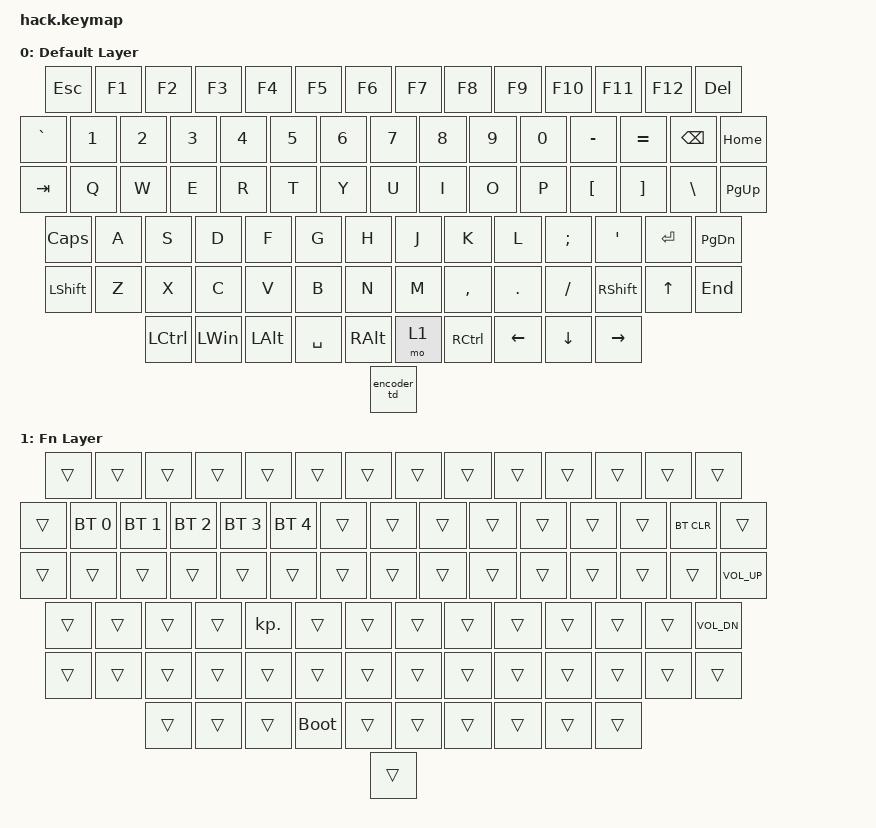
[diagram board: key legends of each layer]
#include <behaviors.dtsi>
#include <dt-bindings/zmk/keys.h>
#include <dt-bindings/zmk/bt.h>

/ {
    behaviors {
        encoder_td: encoder_td {
            compatible = "zmk,behavior-tap-dance";
            #binding-cells = <0>;
            tapping-term-ms = <500>;
            bindings = <
                &kp C_PLAY_PAUSE    /* Single tap  */
                &kp C_NEXT          /* Double tap  */
                &kp C_PREVIOUS      /* Triple tap  */
            >;
        };
    };

    keymap0: keymap {
        compatible = "zmk,keymap";

            default_layer {
            display-name = "Default Layer";
            bindings = <
                &kp ESC &kp F1 &kp F2 &kp F3 &kp F4 &kp F5 &kp F6 &kp F7 &kp F8 &kp F9 &kp F10 &kp F11 &kp F12 &kp DEL
                &kp GRAVE &kp N1 &kp N2 &kp N3 &kp N4 &kp N5 &kp N6 &kp N7 &kp   N8  &kp  N9 &kp  N0  &kp MINUS &kp EQUAL &kp BSPC &kp HOME
                &kp TAB  &kp Q  &kp W  &kp E  &kp R  &kp T  &kp Y  &kp U  &kp   I   &kp  O  &kp   P  &kp LBKT &kp RBKT  &kp BSLH &kp PG_UP
                &kp CLCK  &kp A  &kp S  &kp D  &kp F  &kp G  &kp H  &kp J  &kp   K   &kp  L  &kp SEMI &kp APOS           &kp RET &kp PG_DN
                &kp LSHFT  &kp Z  &kp X  &kp C  &kp V  &kp B  &kp N  &kp M  &kp COMMA &kp DOT &kp FSLH         &kp RSHFT &kp UP &kp END
                &kp LCTRL &kp LWIN &kp LALT               &kp SPACE                 &kp  RALT  &mo  1  &kp  RCTRL  &kp LEFT  &kp DOWN  &kp RIGHT
                &encoder_td
            >;
        };

        fn_layer {
            display-name = "Fn Layer";
            bindings = <
                &trans   &trans   &trans   &trans   &trans   &trans   &trans   &trans   &trans   &trans   &trans   &trans   &trans   &trans  
                &trans   &bt BT_SEL 0 &bt BT_SEL 1 &bt BT_SEL 2 &bt BT_SEL 3 &bt BT_SEL 4 &trans   &trans   &trans   &trans   &trans   &trans   &trans   &bt BT_CLR  &trans  
                &trans   &trans   &trans   &trans   &trans   &trans   &trans   &trans   &trans   &trans   &trans   &trans   &trans   &trans  &kp C_VOL_UP  
                &trans   &trans   &trans   &trans   &kp KP_DOT  &trans   &trans   &trans   &trans   &trans   &trans   &trans   &trans   &kp C_VOL_DN
                &trans   &trans   &trans   &trans   &trans   &trans  &trans   &trans   &trans   &trans   &trans   &trans   &trans   &trans
                &trans   &trans   &trans                 &bootloader                   &trans    &trans    &trans    &trans   &trans    &trans
                &trans
            >;
        };
    };
};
